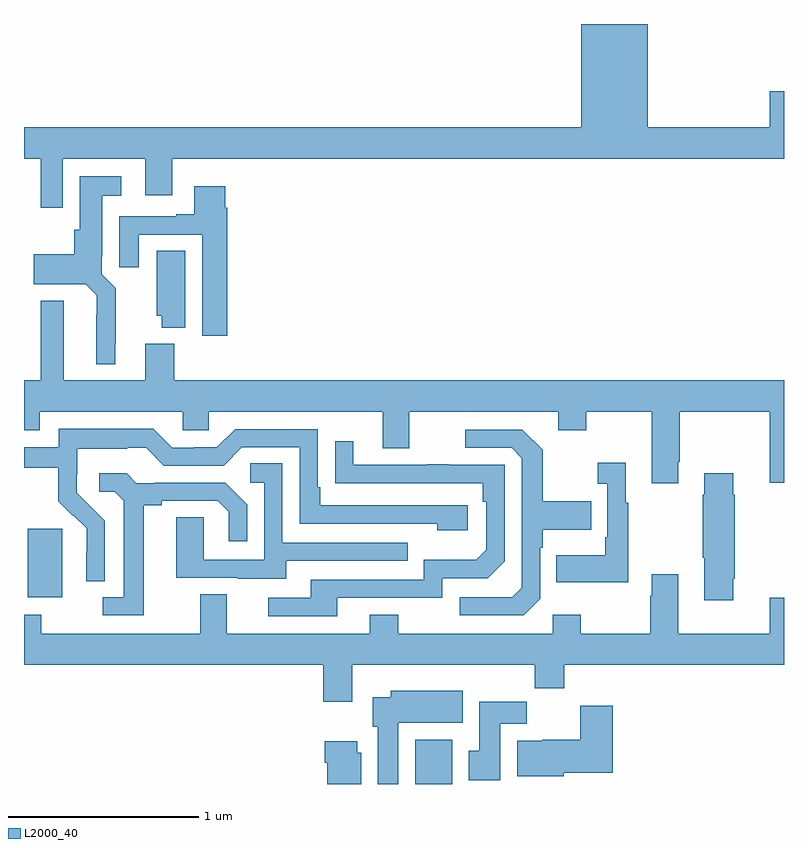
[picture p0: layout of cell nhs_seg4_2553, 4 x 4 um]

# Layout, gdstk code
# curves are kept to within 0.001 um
import gdstk
lib = gdstk.Library(unit=1e-6, precision=1e-09)
def R(c, l, rs):  # rectangles x0, y0, x1, y1
    for r in rs: c.add(gdstk.rectangle(r[:2], r[2:], *l))
def P(c, l, *ps):  # polygons
    for p in ps: c.add(gdstk.Polygon(p, *l))
L2000_40 = (2000, 40)

nhs_seg4_2553 = lib.new_cell('nhs_seg4_2553')
R(nhs_seg4_2553, L2000_40, [(247.058,754.9,247.255,755.134), (245.021,755.882,245.2,756.243)])
P(nhs_seg4_2553, L2000_40, [(245.205,758.192),(245.639,758.192),(245.639,757.998),(245.779,757.998),(245.779,758.192),(249,758.192),(249,758.545),(248.924,758.545),(248.924,758.356),(248.284,758.356),(248.284,758.9),(247.934,758.9),(247.934,758.356),(245,758.356),(245,758.192),(245.089,758.192),(245.089,757.932),(245.205,757.932)],
  [(245.479,757.219),(245.483,757.219),(245.483,757.51),(245.409,757.584),(245.409,757.678),(245.413,757.678),(245.413,757.997),(245.512,757.997),(245.512,758.098),(245.294,758.098),(245.294,757.818),(245.264,757.818),(245.264,757.687),(245.052,757.687),(245.052,757.529),(245.325,757.529),(245.382,757.472),(245.381,757.109),(245.479,757.109)],
  [(246.071,757.934),(246.058,757.934),(246.058,758.047),(245.897,758.047),(245.897,757.9),(245.801,757.9),(245.801,757.887),(245.501,757.887),(245.501,757.62),(245.605,757.62),(245.605,757.791),(245.939,757.791),(245.939,757.26),(246.071,757.26)],
  [(245.848,757.706),(245.699,757.706),(245.699,757.365),(245.726,757.365),(245.726,757.301),(245.848,757.301)],
  [(248.443,756.595),(248.451,756.595),(248.451,756.86),(248.924,756.86),(248.924,756.486),(249,756.486),(249,757.024),(245.792,757.024),(245.792,757.216),(245.639,757.216),(245.639,757.024),(245.209,757.024),(245.209,757.444),(245.087,757.444),(245.087,757.024),(245,757.024),(245,756.761),(245.083,756.761),(245.083,756.86),(245.835,756.86),(245.835,756.762),(245.973,756.762),(245.973,756.86),(246.887,756.86),(246.887,756.666),(247.027,756.666),(247.027,756.86),(247.811,756.86),(247.811,756.761),(247.959,756.761),(247.959,756.86),(248.303,756.86),(248.303,756.483),(248.443,756.483)],
  [(245.424,756.286),(245.278,756.434),(245.278,756.531),(245.28,756.531),(245.28,756.665),(245.543,756.665),(245.543,756.669),(245.643,756.669),(245.736,756.576),(246.051,756.576),(246.147,756.672),(246.45,756.672),(246.45,756.27),(247.175,756.27),(247.175,756.236),(247.336,756.236),(247.336,756.366),(246.559,756.366),(246.559,756.463),(246.546,756.463),(246.546,756.768),(246.111,756.768),(246.015,756.672),(245.897,756.672),(245.897,756.669),(245.781,756.669),(245.681,756.769),(245.184,756.769),(245.184,756.672),(245,756.672),(245,756.564),(245.179,756.564),(245.179,756.389),(245.256,756.312),(245.259,756.315),(245.33,756.245),(245.33,756.122),(245.328,756.122),(245.328,755.968),(245.424,755.968)],
  [(247.716,755.874),(247.716,756.143),(247.729,756.143),(247.729,756.239),(247.985,756.239),(247.985,756.387),(247.729,756.387),(247.729,756.659),(247.623,756.765),(247.323,756.765),(247.323,756.669),(247.566,756.669),(247.62,756.615),(247.62,755.934),(247.569,755.883),(247.293,755.883),(247.293,755.787),(247.629,755.787)],
  [(246.649,755.88),(247.2,755.88),(247.2,755.982),(247.44,755.982),(247.53,756.072),(247.53,756.579),(247.235,756.579),(247.235,756.584),(247.123,756.584),(247.123,756.579),(246.733,756.579),(246.733,756.703),(246.637,756.703),(246.637,756.484),(247.414,756.483),(247.414,756.386),(247.434,756.386),(247.434,756.132),(247.381,756.079),(247.104,756.079),(247.104,755.976),(246.509,755.976),(246.509,755.88),(246.285,755.88),(246.285,755.784),(246.649,755.784)],
  [(248.179,756.379),(248.167,756.379),(248.167,756.592),(248.019,756.592),(248.019,756.479),(248.07,756.479),(248.07,756.199),(248.058,756.199),(248.058,756.103),(247.801,756.103),(247.801,755.963),(248.179,755.963)],
  [(246.379,756.075),(247.019,756.075),(247.019,756.171),(246.36,756.171),(246.36,756.587),(246.192,756.587),(246.192,756.486),(246.264,756.486),(246.264,756.081),(245.946,756.081),(245.946,756.305),(245.801,756.305),(245.801,755.985),(246.125,755.985),(246.125,755.981),(246.379,755.981)],
  [(245.629,756.368),(245.725,756.368),(245.725,756.39),(246.02,756.39),(246.077,756.333),(246.077,756.177),(246.174,756.177),(246.174,756.37),(246.058,756.486),(245.686,756.486),(245.686,756.483),(245.592,756.483),(245.54,756.535),(245.397,756.535),(245.397,756.438),(245.478,756.438),(245.525,756.391),(245.525,755.883),(245.415,755.883),(245.415,755.787),(245.629,755.787)],
  [(248.734,755.98),(248.742,755.98),(248.742,756.422),(248.734,756.422),(248.734,756.535),(248.579,756.535),(248.579,756.422),(248.572,756.422),(248.572,756.091),(248.579,756.091),(248.579,755.868),(248.734,755.868)],
  [(246.727,755.528),(247.687,755.528),(247.687,755.404),(247.844,755.404),(247.844,755.528),(249,755.528),(249,755.881),(248.924,755.881),(248.924,755.692),(248.443,755.692),(248.443,756.004),(248.303,756.004),(248.303,755.891),(248.296,755.891),(248.296,755.692),(247.929,755.692),(247.929,755.791),(247.782,755.791),(247.782,755.692),(246.969,755.692),(246.969,755.791),(246.821,755.791),(246.821,755.692),(246.067,755.692),(246.067,755.9),(245.927,755.9),(245.927,755.692),(245.091,755.692),(245.091,755.791),(245,755.791),(245,755.528),(246.575,755.528),(246.575,755.334),(246.727,755.334)],
  [(246.97,755.222),(247.309,755.222),(247.309,755.392),(246.929,755.392),(246.929,755.356),(246.836,755.356),(246.836,755.202),(246.863,755.202),(246.863,754.9),(246.97,754.9)],
  [(247.507,755.216),(247.646,755.216),(247.646,755.334),(247.397,755.334),(247.397,755.076),(247.34,755.076),(247.34,754.92),(247.507,754.92)],
  [(247.842,754.958),(248.099,754.958),(248.099,755.311),(247.928,755.311),(247.928,755.134),(247.728,755.134),(247.728,755.128),(247.595,755.128),(247.595,754.94),(247.842,754.94)],
  [(246.775,755.064),(246.754,755.064),(246.754,755.125),(246.584,755.125),(246.584,755.012),(246.596,755.012),(246.596,754.9),(246.775,754.9)])

lib.write_gds('nhs_seg4_2553.gds')
